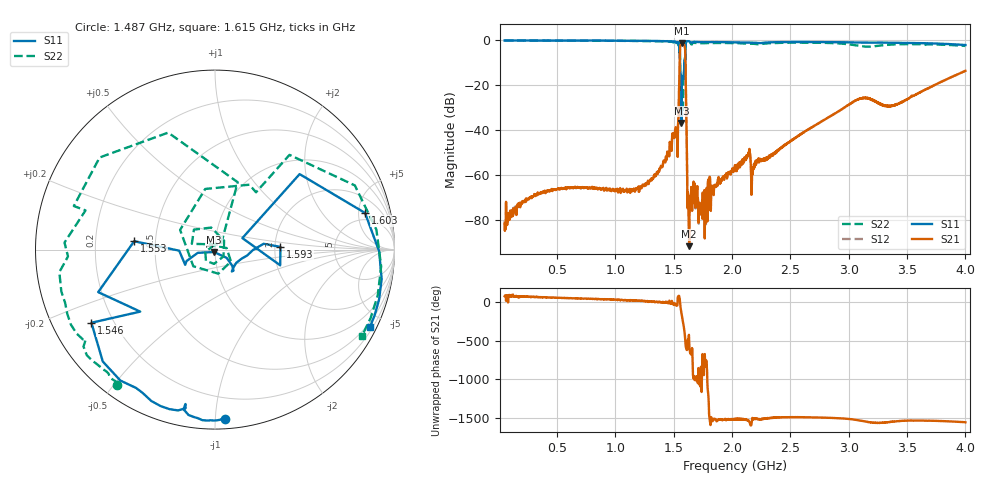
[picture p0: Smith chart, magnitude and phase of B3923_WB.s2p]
! Matrix data file written by TouchstoneData, EPCOS AG
! FILENAME: "newformat_LZ85A_3_WB.s2p"
! COMMENT: "(LZ85A_3_WB.s2p) EPCOS AG 06.12.2011 14:00:0"
! INFO: nport=2, nfreq=1601
! DATE: "Fri Dec  9 16:21:45 2011"
! USER: "Michael Schemies"
! port | pin | signal
!  1  |  2  |  in
!  2  |  5  |  out
# MHZ S MA R 50
! freq  magS11 angS11  magS21 angS21  magS12 angS12  magS22 angS22
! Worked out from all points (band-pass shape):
!   1601 points, 50 MHz to 4 GHz, reference 50 ohm
!   highest |S21| = -1.27 dB at 1.571 GHz (marker M1); lowest = -91.5 dB at 1.632 GHz (marker M2)
!   |S21| within 3 dB of the highest: 1.553 GHz to 1.598 GHz (44.08 MHz wide, 2.8 % of centre)
!   lowest |S11| = -36.7 dB at 1.566 GHz (marker M3), VSWR 1.03, Z = 49.4 - j1.33 ohm
!   |S11| at or under -10 dB: 1.555 GHz to 1.592 GHz (37.2 MHz wide, 2.36 % of centre); 1.595944 GHz to 1.5991 GHz (3.156 MHz wide, 0.198 % of centre)
!   |S22| runs from -31.9 to 0.0 dB; largest |S21 - S12| = 0.019
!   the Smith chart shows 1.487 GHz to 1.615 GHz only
!   S11 on the Smith chart (normalised r, x): 1.487 GHz: 0.06, -1.06; 1.546 GHz: 0.12, -0.27; 1.553 GHz: 0.38, +0.04; 1.593 GHz: 2.15, +0.07; 1.603 GHz: 3.78, +5.95; 1.615 GHz: 0.33, -4.20
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50  0.9983 -2.5  8.471e-05 79.6  9.871e-05 80.4  0.9988 -3.5
709.1562  1 -35.9  0.0005242 51.0  0.0005171 49.6  0.9944 -50.4
1146.125  0.9853 -56.5  0.0004822 26.2  0.0004813 26.7  0.9772 -80.4
1368.312  0.9743 -69.5  0.001228 2.4  0.00124 2.6  0.9594 -100.3
1486.812  0.9443 -86.7  0.008429 6.1  0.008434 6.0  0.9301 -125.9
1521.375  0.876 -100.8  0.01064 -41.8  0.01065 -41.9  0.8903 -145.8
1546.062  0.8001 -149.4  0.09485 81.2  0.09493 81.2  0.823 162.8
1553.469  0.4529 174.1  0.6133 8.3  0.614 8.2  0.3961 71.4
1565.812  0.01468 -113.1  0.857 -138.2  0.8578 -138.3  0.07145 44.8
1570.75  0.1317 -43.1  0.8639 179.2  0.8649 179.2  0.07959 -93.6
1592.969  0.365 2.4  0.752 -35.3  0.7529 -35.3  0.3423 99.1
1602.844  0.8605 13.7  0.1133 143.2  0.1134 143.1  0.8573 24.7
1615.188  0.9656 -26.7  0.0009465 107.5  0.0009439 107.3  0.9496 -30.5
1632.469  0.9591 -44.9  2.649e-05 -174.8  3.144e-05 179.9  0.8681 -59.9
1731.219  0.9201 -64.0  0.0002002 77.2  0.0002052 74.2  0.868 -87.9
2025  0.9138 -79.0  0.001689 -76.3  0.001687 -76.3  0.8723 -110.4
2136.094  0.9007 -82.8  0.002689 -89.1  0.00269 -89.3  0.8501 -116.0
2180.531  0.8941 -84.0  0.001521 -72.7  0.00152 -72.7  0.8444 -117.3
2684.156  0.9255 -99.0  0.01164 -51.5  0.01163 -51.6  0.8942 -139.2
3098.906  0.9003 -113.3  0.0517 -93.6  0.05182 -93.8  0.7528 -158.9
3343.312  0.8954 -122.1  0.03486 -112.6  0.03486 -112.9  0.8056 -161.2
4000  0.7933 -158.2  0.2114 -116.1  0.2114 -111.0  0.7575 148.8
